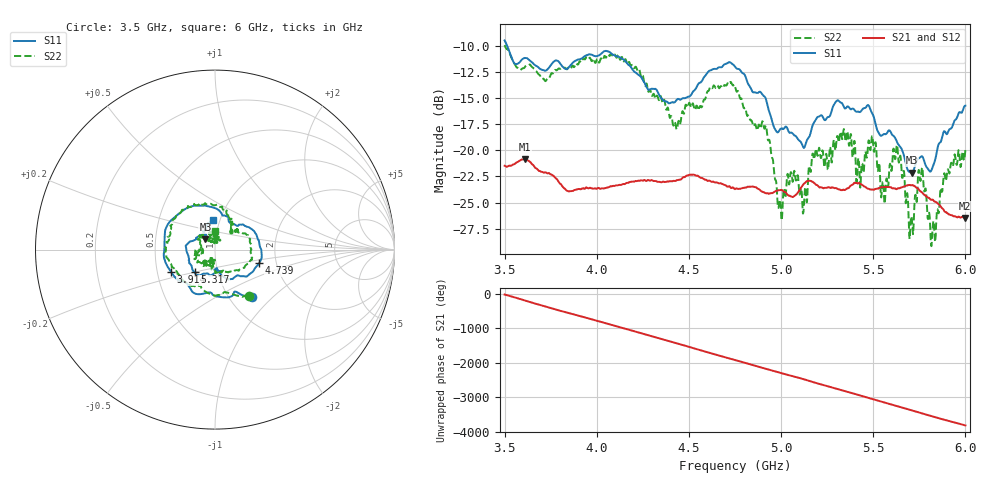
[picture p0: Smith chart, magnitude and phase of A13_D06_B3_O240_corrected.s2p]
! Created with skrf 1.9.0 (http://scikit-rf.org).
# Hz S RI R 50.0
!freq ReS11 ImS11 ReS21 ImS21 ReS12 ImS12 ReS22 ImS22
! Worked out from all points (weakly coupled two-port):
!   1601 points, 3.5 GHz to 6 GHz, reference 50 ohm
!   highest |S21| = -20.82 dB at 3.609 GHz (marker M1); lowest = -26.5 dB at 5.997 GHz (marker M2)
!   lowest |S11| = -22.1 dB at 5.708 GHz (marker M3), VSWR 1.17, Z = 44.7 + j5.16 ohm
!   |S11| at or under -10 dB: 3.514 GHz to end of sweep
!   |S22| runs from -29.2 to -9.9 dB; largest |S21 - S12| = 0.001
!   S11 on the Smith chart (normalised r, x): 3.5 GHz: 1.27, -0.76; 3.914 GHz: 0.59, -0.16; 4.739 GHz: 1.63, -0.26; 5.317 GHz: 0.77, -0.20; 6 GHz: 0.92, +0.31
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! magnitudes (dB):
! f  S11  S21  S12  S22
! 3.5 GHz  -9.5  -21.5  -21.5  -9.9
! 3.609 GHz  -11.2  -20.8  -20.8  -12.0
! 3.914 GHz  -11.2  -23.7  -23.7  -11.6
! 3.917 GHz  -11.2  -23.7  -23.7  -11.5
! 4.334 GHz  -14.6  -23.0  -22.9  -15.1
! 4.427 GHz  -15.3  -22.9  -22.9  -17.5
! 4.739 GHz  -11.8  -23.5  -23.6  -13.8
! 4.75 GHz  -12.0  -23.7  -23.6  -13.9
! 4.911 GHz  -14.9  -24.1  -24.0  -17.9
! 4.994 GHz  -18.0  -23.8  -23.7  -24.8
! 5.062 GHz  -18.4  -24.5  -24.4  -23.0
! 5.128 GHz  -19.7  -23.1  -23.1  -24.1
! 5.167 GHz  -17.8  -23.0  -22.9  -20.8
! 5.317 GHz  -15.4  -23.7  -23.7  -18.8
! 5.584 GHz  -18.1  -23.5  -23.5  -22.7
! 5.638 GHz  -19.5  -23.6  -23.6  -21.1
! 5.708 GHz  -22.1  -23.3  -23.3  -26.4
! 5.755 GHz  -20.7  -23.9  -23.8  -22.8
! 5.825 GHz  -21.5  -24.8  -24.7  -26.9
! 5.892 GHz  -18.3  -25.9  -25.8  -22.8
! 5.997 GHz  -15.7  -26.5  -26.3  -20.6
! 6 GHz  -15.7  -26.4  -26.4  -19.9
